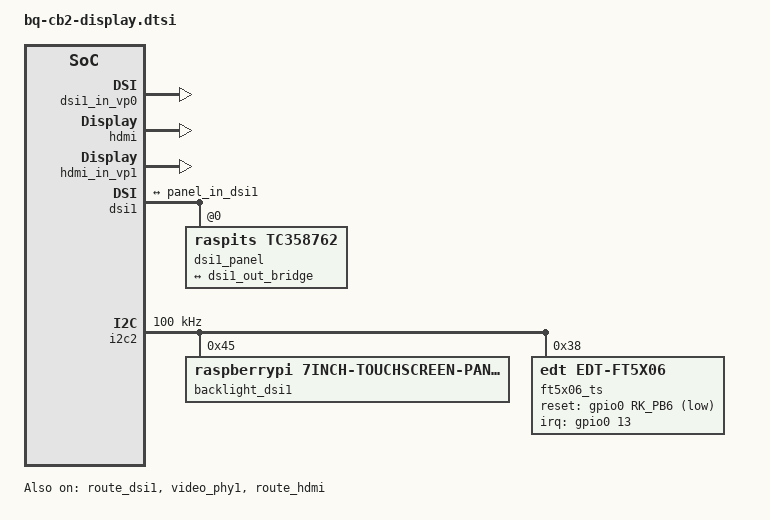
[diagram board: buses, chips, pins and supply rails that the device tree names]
// SPDX-License-Identifier: (GPL-2.0+ OR MIT)
/*
 * Copyright (c) 2020 Rockchip Electronics Co., Ltd.
 *
 */

&route_dsi0 {
    status = "disabled";//"okay";
    connect = <&vp0_out_dsi0>;
};

&video_phy0 {
    status = "disabled";//"okay";
};

&dsi0_in_vp0 {
    status = "disabled";//"okay";
};

&dsi0_in_vp1 {
    status = "disabled";
};

&route_dsi1 {
    status = "okay";//"disabled";
    connect = <&vp0_out_dsi1>;
};

&video_phy1 {
    status = "okay";//"disabled";
};

&dsi1_in_vp0 {
    status = "okay";//"disabled";
};

&dsi1_in_vp1 {
    status = "disabled";
};

&route_hdmi {
	status = "okay";//"disabled";
	connect = <&vp1_out_hdmi>;
};

&hdmi {
	status = "okay";//"disabled";
};

&hdmi_in_vp0 {
	status = "disabled";
};

&hdmi_in_vp1 {
	status = "okay";//"disabled";
};

&dsi1 {
    status = "okay";
	dsi1_panel: dsi-panel@0 {
				compatible = "raspits,tc358762";
				reg = <0x0>;
				status = "okay";

				ports {
					#address-cells = <1>;
					#size-cells = <0>;

					port@0 {
						reg = <0>;
						panel_in_dsi1: endpoint {
							remote-endpoint = <&dsi1_out_bridge>;
						};
					};
				};
	};

	
    ports {
        #address-cells = <1>;
        #size-cells = <0>;

        port@1 {
            reg = <1>;
            dsi1_out_bridge: endpoint {
                remote-endpoint = <&panel_in_dsi1>;
            };
        };
	};
};

&i2c2 {
	status = "okay";
	pinctrl-names = "default";
	clock-frequency = <100000>;
	pinctrl-0 = <&i2c2m1_xfer>;
	avdd-1v8-supply = <&vcca1v8_image>;
	avdd-0v9-supply = <&vdda0v9_image>;
	power-domains = <&power RK3568_PD_VI>;
	#address-cells = <1>;
	#size-cells = <0>;
	backlight_dsi1:backlight@45{ /*背光地址0x45*/
		compatible = "raspberrypi,7inch-touchscreen-panel-regulator";
		reg = <0x45>;
		status = "okay";
    };
	ft5x06_ts@38 { /*触屏地址0x38*/
		compatible = "edt,edt-ft5x06", "ft5x06";
		reg = <0x38>;
		interrupt-parent = <&gpio0>;
		interrupts = <13 IRQ_TYPE_LEVEL_LOW>;
		power-domains = <&power RK3568_PD_VI>;
		reset-gpios = <&gpio0 RK_PB6 GPIO_ACTIVE_LOW>;
		touchscreen-size-x = < 800 >;
		touchscreen-size-y = < 480 >;
		status = "okay";
	};	
};

